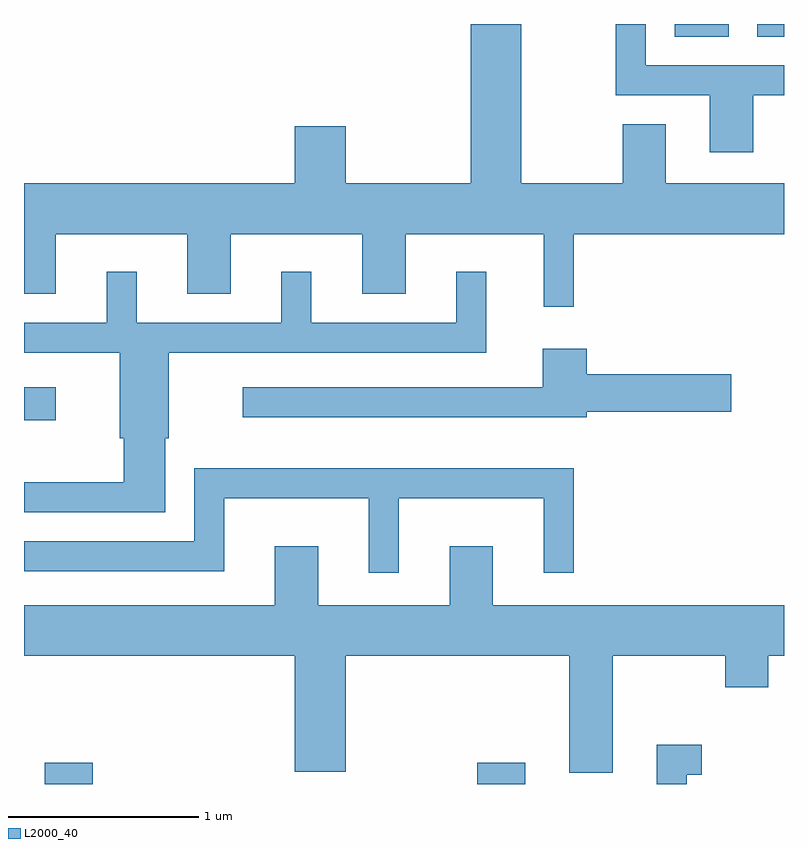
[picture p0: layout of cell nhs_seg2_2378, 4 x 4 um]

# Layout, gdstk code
import gdstk
lib = gdstk.Library(unit=1e-6, precision=1e-09)
def R(c, l, rs):  # rectangles x0, y0, x1, y1
    for r in rs: c.add(gdstk.rectangle(r[:2], r[2:], *l))
def P(c, l, *ps):  # polygons
    for p in ps: c.add(gdstk.Polygon(p, *l))
L2000_40 = (2000, 40)

nhs_seg2_2378 = lib.new_cell('nhs_seg2_2378')
R(nhs_seg2_2378, L2000_40, [(253.721,1109.802,253.974,1109.914), (255.996,1109.802,256.249,1109.914), (253.611,1111.716,253.779,1111.889), (257.036,1113.736,257.319,1113.802), (257.471,1113.736,257.611,1113.802)])
P(nhs_seg2_2378, L2000_40, [(256.504,1112.696),(257.611,1112.696),(257.611,1112.964),(256.989,1112.964),(256.989,1113.274),(256.761,1113.274),(256.761,1112.964),(256.229,1112.964),(256.229,1113.802),(255.961,1113.802),(255.961,1112.964),(255.304,1112.964),(255.304,1113.264),(255.036,1113.264),(255.036,1112.964),(253.611,1112.964),(253.611,1112.381),(253.779,1112.381),(253.779,1112.696),(254.471,1112.696),(254.471,1112.381),(254.699,1112.381),(254.699,1112.696),(255.391,1112.696),(255.391,1112.381),(255.619,1112.381),(255.619,1112.696),(256.346,1112.696),(256.346,1112.313),(256.504,1112.313)],
  [(257.449,1113.426),(257.611,1113.426),(257.611,1113.584),(256.884,1113.584),(256.884,1113.802),(256.726,1113.802),(256.726,1113.426),(257.221,1113.426),(257.221,1113.126),(257.449,1113.126)],
  [(254.354,1111.621),(254.374,1111.621),(254.374,1112.071),(256.044,1112.071),(256.044,1112.498),(255.886,1112.498),(255.886,1112.229),(255.124,1112.229),(255.124,1112.498),(254.966,1112.498),(254.966,1112.229),(254.204,1112.229),(254.204,1112.498),(254.046,1112.498),(254.046,1112.229),(253.611,1112.229),(253.611,1112.071),(254.116,1112.071),(254.116,1111.621),(254.136,1111.621),(254.136,1111.389),(253.611,1111.389),(253.611,1111.231),(254.354,1111.231)],
  [(256.574,1111.761),(257.334,1111.761),(257.334,1111.959),(256.574,1111.959),(256.574,1112.094),(256.341,1112.094),(256.341,1111.889),(254.763,1111.889),(254.763,1111.731),(256.574,1111.731)],
  [(255.584,1111.306),(256.346,1111.306),(256.346,1110.913),(256.504,1110.913),(256.504,1111.464),(254.506,1111.464),(254.506,1111.079),(253.611,1111.079),(253.611,1110.921),(254.664,1110.921),(254.664,1111.306),(255.426,1111.306),(255.426,1110.913),(255.584,1110.913)],
  [(256.709,1110.476),(257.301,1110.476),(257.301,1110.311),(257.529,1110.311),(257.529,1110.476),(257.611,1110.476),(257.611,1110.744),(256.079,1110.744),(256.079,1111.054),(255.851,1111.054),(255.851,1110.744),(255.159,1110.744),(255.159,1111.054),(254.931,1111.054),(254.931,1110.744),(253.611,1110.744),(253.611,1110.476),(255.036,1110.476),(255.036,1109.866),(255.304,1109.866),(255.304,1110.476),(256.481,1110.476),(256.481,1109.861),(256.709,1109.861)],
  [(257.099,1109.851),(257.178,1109.851),(257.178,1110.009),(256.941,1110.009),(256.941,1109.802),(257.099,1109.802)])

lib.write_gds('nhs_seg2_2378.gds')
